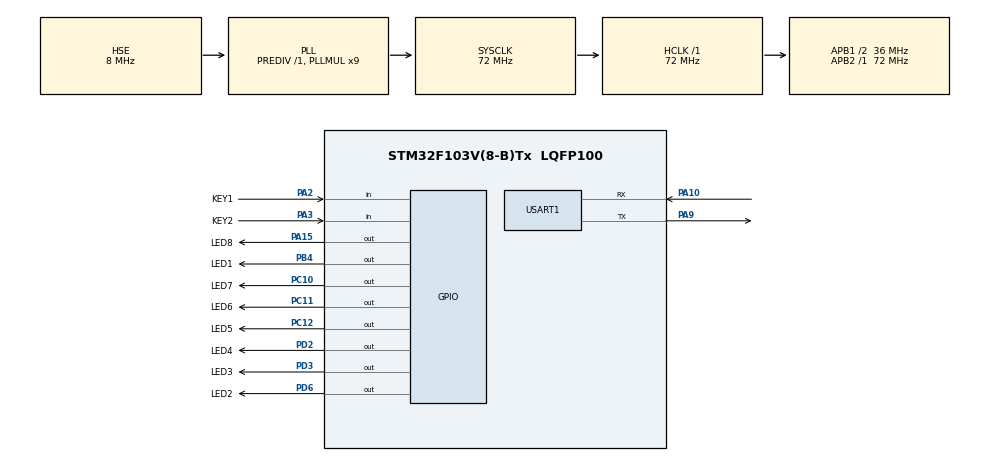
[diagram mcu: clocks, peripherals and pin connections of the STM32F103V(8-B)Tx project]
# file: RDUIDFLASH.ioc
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Mcu.Family=STM32F1
Mcu.Name=STM32F103V(8-B)Tx
Mcu.Package=LQFP100
NVIC.PriorityGroup=NVIC_PRIORITYGROUP_4
NVIC.USART1_IRQn=true\:0\:0\:false\:false\:true\:true\:true\:true
OSC_IN.Mode=HSE-External-Oscillator
OSC_IN.Signal=RCC_OSC_IN
OSC_OUT.Mode=HSE-External-Oscillator
OSC_OUT.Signal=RCC_OSC_OUT
PA10.Mode=Asynchronous
PA10.Signal=USART1_RX
PA13.Mode=Serial_Wire
PA13.Signal=SYS_JTMS-SWDIO
PA14.Mode=Serial_Wire
PA14.Signal=SYS_JTCK-SWCLK
PA15.GPIO_Label=LED8
PA15.Signal=GPIO_Output
PA2.GPIO_Label=KEY1
PA2.GPIO_PuPd=GPIO_PULLUP
PA2.Signal=GPIO_Input
PA3.GPIO_Label=KEY2
PA3.GPIO_PuPd=GPIO_PULLUP
PA3.Signal=GPIO_Input
PA9.Mode=Asynchronous
PA9.Signal=USART1_TX
PB4.GPIO_Label=LED1
PB4.GPIO_PuPd=GPIO_PULLUP
PB4.GPIO_Speed=GPIO_SPEED_FREQ_HIGH
PB4.PinState=GPIO_PIN_SET
PB4.Signal=GPIO_Output
PC10.GPIO_Label=LED7
PC10.Signal=GPIO_Output
PC11.GPIO_Label=LED6
PC11.Signal=GPIO_Output
PC12.GPIO_Label=LED5
PC12.Signal=GPIO_Output
PC14-OSC32_IN.Mode=LSE-External-Oscillator
PC14-OSC32_IN.Signal=RCC_OSC32_IN
PC15-OSC32_OUT.Mode=LSE-External-Oscillator
PC15-OSC32_OUT.Signal=RCC_OSC32_OUT
PD2.GPIO_Label=LED4
PD2.GPIO_ModeDefaultOutputPP=GPIO_MODE_OUTPUT_PP
PD2.GPIO_PuPd=GPIO_PULLUP
PD2.GPIO_Speed=GPIO_SPEED_FREQ_HIGH
PD2.PinState=GPIO_PIN_SET
PD2.Signal=GPIO_Output
PD3.GPIO_Label=LED3
PD3.GPIO_ModeDefaultOutputPP=GPIO_MODE_OUTPUT_PP
PD3.GPIO_PuPd=GPIO_PULLUP
PD3.GPIO_Speed=GPIO_SPEED_FREQ_HIGH
PD3.PinState=GPIO_PIN_SET
PD3.Signal=GPIO_Output
PD6.GPIO_Label=LED2
PD6.GPIO_ModeDefaultOutputPP=GPIO_MODE_OUTPUT_PP
PD6.GPIO_PuPd=GPIO_PULLUP
PD6.GPIO_Speed=GPIO_SPEED_FREQ_HIGH
PD6.PinState=GPIO_PIN_SET
PD6.Signal=GPIO_Output
ProjectManager.HeapSize=0x200
ProjectManager.StackSize=0x400
ProjectManager.TargetToolchain=Makefile
RCC.AHBFreq_Value=72000000
RCC.APB1CLKDivider=RCC_HCLK_DIV2
RCC.APB1Freq_Value=36000000
RCC.APB1TimFreq_Value=72000000
RCC.APB2Freq_Value=72000000
RCC.APB2TimFreq_Value=72000000
RCC.HCLKFreq_Value=72000000
RCC.PLLMUL=RCC_PLL_MUL9
RCC.PLLSourceVirtual=RCC_PLLSOURCE_HSE
RCC.RCC_MCOSource=RCC_MCO1SOURCE_PLLCLK
RCC.SYSCLKFreq_VALUE=72000000
RCC.SYSCLKSource=RCC_SYSCLKSOURCE_PLLCLK
RCC.USBFreq_Value=72000000
USART1.VirtualMode=VM_ASYNC
board=custom

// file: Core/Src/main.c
/* USER CODE BEGIN Header */
/**
 ******************************************************************************
 * @file           : main.c
 * @brief          : Main program body
 ******************************************************************************
 * @attention
 *
 * Copyright (c) 2024 STMicroelectronics.
 * All rights reserved.
 *
 * This software is licensed under terms that can be found in the LICENSE file
 * in the root directory of this software component.
 * If no LICENSE file comes with this software, it is provided AS-IS.
 *
 ******************************************************************************
 */
/* USER CODE END Header */
#include "main.h"
#include "usart.h"
#include "gpio.h"

/* USER CODE BEGIN Includes */
#include "stdio.h"
/* USER CODE END Includes */

void SystemClock_Config(void);
/* USER CODE BEGIN PFP */
/**
 * @brief 获取MCU设备信息
 */
void Get_MCU_Info(void)
{
    printf("\r\n\r\n------------------get mcu information------------------\r\n\r\n");
    uint32_t  FLASH_Size_Addr = 0x1FFFF7E0;//FLASH大小存储地址
    //获取存储器大小
    printf("FLASH  Size: %dKB\r\n",*(uint16_t *)FLASH_Size_Addr);
    //获取HAL版本
    uint32_t HALVer = HAL_GetHalVersion();
    printf("HAL Version: V%d.%d.%d\r\n",HALVer>>24,(HALVer>>16)&0xFF,(HALVer>>8)&0xFF);
   //获取保留ID？
    printf("Revision ID: 0x%X\r\n",HAL_GetREVID());
    //获取全球唯一UID
    printf("Unique ID(UID): 0x%08X %08X %08X\r\n",HAL_GetUIDw0(),HAL_GetUIDw1(),HAL_GetUIDw2());

    //获取设备ID
    printf("Device ID or Chip ID or Product ID(PID): 0x%x\r\n",HAL_GetDEVID());

}
/* USER CODE END PFP */

int main(void)
{

  /* MCU Configuration--------------------------------------------------------*/

  /* Reset of all peripherals, Initializes the Flash interface and the Systick. */
  HAL_Init();

  /* Configure the system clock */
  SystemClock_Config();

  /* Initialize all configured peripherals */
  MX_GPIO_Init();
  MX_USART1_UART_Init();
  /* USER CODE BEGIN 2 */
  Get_MCU_Info();
  /* USER CODE END 2 */

  /* Infinite loop */
  while (1)
  {

  }
}

void SystemClock_Config(void)
{
  RCC_OscInitTypeDef RCC_OscInitStruct = {0};
  RCC_ClkInitTypeDef RCC_ClkInitStruct = {0};

  /** Initializes the RCC Oscillators according to the specified parameters
   * in the RCC_OscInitTypeDef structure.
   */
  RCC_OscInitStruct.OscillatorType = RCC_OSCILLATORTYPE_HSE;
  RCC_OscInitStruct.HSEState = RCC_HSE_ON;
  RCC_OscInitStruct.HSEPredivValue = RCC_HSE_PREDIV_DIV1;
  RCC_OscInitStruct.HSIState = RCC_HSI_ON;
  RCC_OscInitStruct.PLL.PLLState = RCC_PLL_ON;
  RCC_OscInitStruct.PLL.PLLSource = RCC_PLLSOURCE_HSE;
  RCC_OscInitStruct.PLL.PLLMUL = RCC_PLL_MUL9;
  if (HAL_RCC_OscConfig(&RCC_OscInitStruct) != HAL_OK)
  {
    Error_Handler();
  }

  /** Initializes the CPU, AHB and APB buses clocks
   */
  RCC_ClkInitStruct.ClockType = RCC_CLOCKTYPE_HCLK | RCC_CLOCKTYPE_SYSCLK | RCC_CLOCKTYPE_PCLK1 | RCC_CLOCKTYPE_PCLK2;
  RCC_ClkInitStruct.SYSCLKSource = RCC_SYSCLKSOURCE_PLLCLK;
  RCC_ClkInitStruct.AHBCLKDivider = RCC_SYSCLK_DIV1;
  RCC_ClkInitStruct.APB1CLKDivider = RCC_HCLK_DIV2;
  RCC_ClkInitStruct.APB2CLKDivider = RCC_HCLK_DIV1;

  if (HAL_RCC_ClockConfig(&RCC_ClkInitStruct, FLASH_LATENCY_2) != HAL_OK)
  {
    Error_Handler();
  }
}

/* USER CODE BEGIN 4 */
#ifdef __GNUC__
#define PUTCHAR_PROTOTYPE int __io_putchar(int ch)
#else
#define PUTCHAR_PROTOTYPE int fputc(int ch. FILE *f)
#endif /* __GNUC__ */

//重定向printf函数
PUTCHAR_PROTOTYPE
{
    HAL_UART_Transmit(&huart1,(uint8_t *)&ch,1,0xFFFF);//输出指向串口USART1
    return ch;
}
/* USER CODE END 4 */

void Error_Handler(void)
{
  __disable_irq();
  while (1)
  {
  }
}
